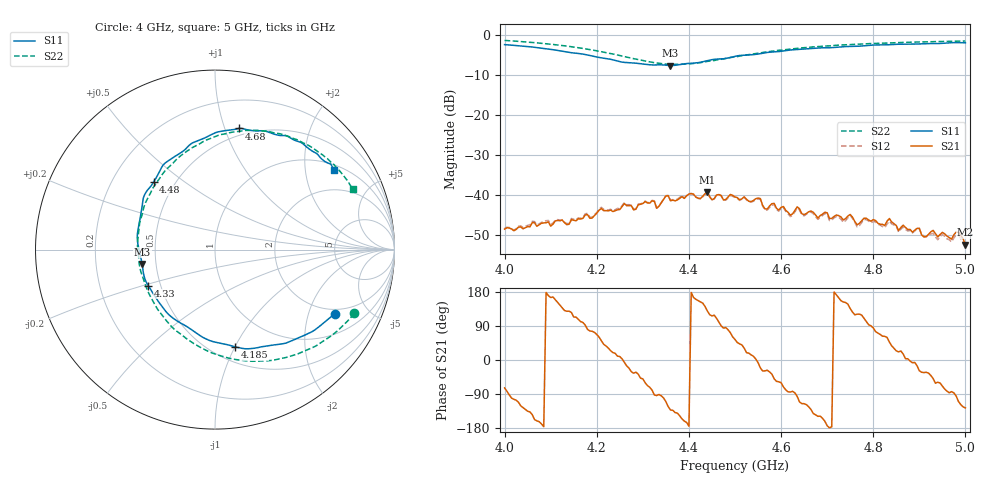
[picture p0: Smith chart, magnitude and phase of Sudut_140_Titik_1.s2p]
# Hz S RI R 50
! CMT, C1220, 16058040, 17.2.0/1
! Date: 15/08/2018 11:33:10
! Data: Format (Calibration Info)
! Freq  S11: Re/Im (F2)  S21: Re/Im (F2)  S12: Re/Im (F2)  S22: Re/Im (F2)
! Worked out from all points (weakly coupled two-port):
!   201 points, 4 GHz to 5 GHz, reference 50 ohm
!   highest |S21| = -39.22 dB at 4.44 GHz (marker M1); lowest = -52.4 dB at 5 GHz (marker M2)
!   lowest |S11| = -7.7 dB at 4.36 GHz (marker M3), VSWR 2.41, Z = 20.9 - j4.05 ohm
!   |S11| at or under -10 dB: nowhere
!   |S22| runs from -7.4 to -1.4 dB; largest |S21 - S12| = 0.0004
!   S11 on the Smith chart (normalised r, x): 4 GHz: 1.80, -2.99; 4.185 GHz: 0.64, -1.00; 4.33 GHz: 0.43, -0.21; 4.48 GHz: 0.38, +0.39; 4.68 GHz: 0.44, +1.12; 5 GHz: 1.16, +2.85
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4e9  0.6663 -0.3564  0.00106 -0.00362  0.00125 -0.00364  0.7747 -0.3553
4.17e9  0.1643 -0.5522  -0.0008 0.00509  -0.000865 0.00519  0.2743 -0.6201
4.185e9  0.1113 -0.5416  0.00121 0.00501  0.00121 0.00517  0.2103 -0.6222
4.26e9  -0.1715 -0.4202  0.00781 -0.000913  0.00803 -0.001  -0.1183 -0.5235
4.33e9  -0.3721 -0.2006  -0.000455 -0.00685  -0.000541 -0.00691  -0.3562 -0.2689
4.335e9  -0.3823 -0.1829  -0.000125 -0.00729  -0.000194 -0.00729  -0.3683 -0.2452
4.35e9  -0.4 -0.1236  -0.00334 -0.00917  -0.00338 -0.00928  -0.3962 -0.1713
4.36e9  -0.4058 -0.0803  -0.00571 -0.00634  -0.00582 -0.00644  -0.4128 -0.1249
4.44e9  -0.4044 0.2523  -0.00695 0.00845  -0.00671 0.00843  -0.3872 0.2615
4.48e9  -0.3416 0.3771  0.000686 0.00882  0.000882 0.00862  -0.3002 0.4102
4.5e9  -0.3028 0.4471  0.00558 0.0077  0.00551 0.00755  -0.2456 0.4713
4.62e9  -0.0069 0.6476  0.00054 -0.00562  0.000492 -0.00539  0.111 0.6563
4.635e9  0.0236 0.6572  -0.000764 -0.00712  -0.000773 -0.00683  0.1532 0.6615
4.67e9  0.113 0.6704  -0.00477 -0.00381  -0.00467 -0.00355  0.2483 0.6636
4.68e9  0.1321 0.6749  -0.00443 -0.0027  -0.00429 -0.00257  0.2728 0.6603
4.825e9  0.4265 0.6182  0.00195 0.00372  0.00187 0.00347  0.568 0.5496
4.835e9  0.445 0.6088  0.00346 0.00377  0.00314 0.00353  0.5826 0.539
4.855e9  0.4773 0.5979  0.00336 0.00132  0.00321 0.00132  0.6126 0.5167
4.9e9  0.5433 0.5479  0.00341 -0.00183  0.00343 -0.00168  0.6701 0.4644
4.91e9  0.5574 0.5405  0.00252 -0.00165  0.00258 -0.0017  0.681 0.4519
4.985e9  0.6492 0.4688  -0.00115 -0.00325  -0.00101 -0.003  0.7549 0.3562
5e9  0.6617 0.4457  -0.00143 -0.00194  -0.00126 -0.00194  0.7685 0.3363
